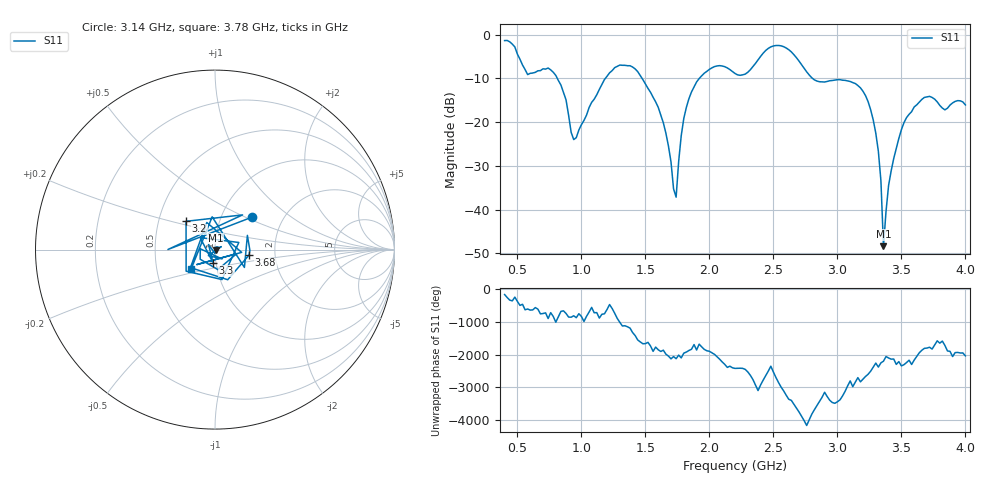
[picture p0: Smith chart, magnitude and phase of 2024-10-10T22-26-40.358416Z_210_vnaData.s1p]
! Created with skrf (http://scikit-rf.org).
# Hz S RI R 50.0
!freq ReS11 ImS11
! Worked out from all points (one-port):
!   181 points, 400 MHz to 4 GHz, reference 50 ohm
!   lowest |S11| = -48.4 dB at 3.36 GHz (marker M1), VSWR 1.01, Z = 50.3 - j0.244 ohm
!   |S11| at or under -10 dB: 811.9 MHz to 1.187 GHz (375 MHz wide, 37.5 % of centre); 1.474 GHz to 1.921 GHz (446.6 MHz wide, 26.3 % of centre); 2.806 GHz to end of sweep
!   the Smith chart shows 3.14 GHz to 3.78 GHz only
!   S11 on the Smith chart (normalised r, x): 3.14 GHz: 1.40, +0.55; 3.2 GHz: 0.69, +0.23; 3.3 GHz: 0.97, -0.14; 3.68 GHz: 1.46, -0.09; 3.78 GHz: 0.75, -0.17
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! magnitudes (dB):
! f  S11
! 400 MHz  -1.3
! 580 MHz  -9.1
! 740 MHz  -7.6
! 860 MHz  -13.2
! 940 MHz  -24.0
! 1.3 GHz  -6.9
! 1.44 GHz  -8.4
! 1.6 GHz  -16.6
! 1.66 GHz  -22.5
! 1.74 GHz  -37.2
! 1.76 GHz  -28.9
! 1.8 GHz  -19.1
! 1.9 GHz  -10.8
! 2.2 GHz  -8.9
! 2.5 GHz  -2.6
! 2.66 GHz  -4.6
! 2.82 GHz  -10.3
! 3.1 GHz  -10.7
! 3.14 GHz  -11.2
! 3.2 GHz  -12.9
! 3.3 GHz  -22.5
! 3.34 GHz  -33.4
! 3.36 GHz  -48.4
! 3.42 GHz  -31.1
! 3.56 GHz  -18.2
! 3.68 GHz  -14.3
! 3.78 GHz  -15.4
! 4 GHz  -16.1
